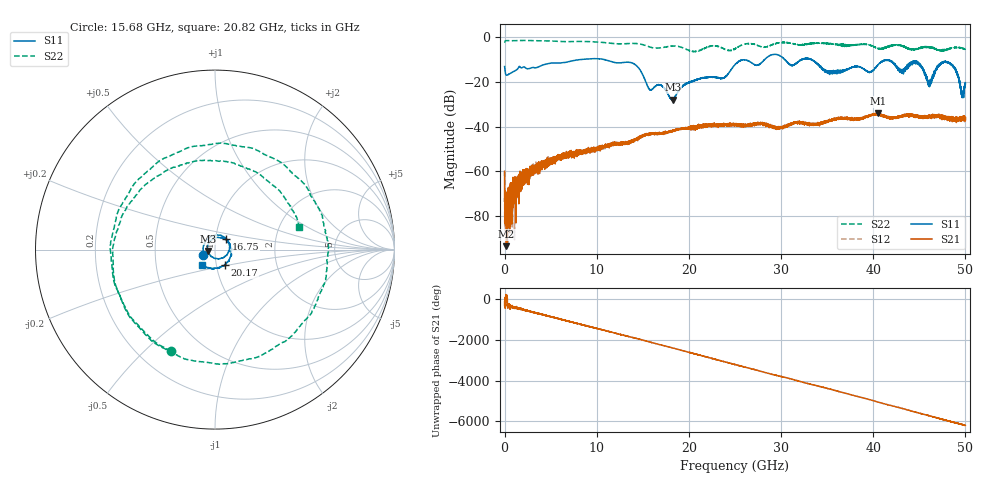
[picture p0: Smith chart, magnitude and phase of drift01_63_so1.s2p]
!Created with skrf (http://scikit-rf.org).
# Hz S RI R 50.0
!freq ReS11 ImS11 ReS21 ImS21 ReS12 ImS12 ReS22 ImS22
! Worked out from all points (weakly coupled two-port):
!   10001 points, 300 kHz to 50 GHz, reference 50 ohm
!   highest |S21| = -34.03 dB at 40.53 GHz (marker M1); lowest = -93.6 dB at 200.3 MHz (marker M2)
!   lowest |S11| = -27.9 dB at 18.26 GHz (marker M3), VSWR 1.08, Z = 46.2 - j0.749 ohm
!   |S11| at or under -10 dB: start of sweep to 8.034 GHz; 10.91 GHz to 25.88 GHz (14.97 GHz wide, 81.4 % of centre); 33.32 GHz to end of sweep (the widest 3 of 13)
!   |S22| runs from -6.4 to -1.4 dB; largest |S21 - S12| = 0.0037
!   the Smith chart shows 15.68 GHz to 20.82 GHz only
!   S11 on the Smith chart (normalised r, x): 15.68 GHz: 0.88, -0.05; 16.75 GHz: 1.12, +0.14; 20.17 GHz: 1.10, -0.19; 20.82 GHz: 0.85, -0.15
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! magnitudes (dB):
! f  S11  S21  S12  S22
! 300 kHz  -13.1  -59.9  -60.2  -2.1
! 200.3 MHz  -16.9  -93.6  -77.4  -1.4
! 3.115 GHz  -13.4  -59.3  -61.0  -1.4
! 8.335 GHz  -9.9  -51.5  -51.8  -1.8
! 13.89 GHz  -11.5  -46.9  -46.3  -2.7
! 15.68 GHz  -23.0  -43.5  -43.5  -4.2
! 16.67 GHz  -21.2  -42.8  -43.1  -4.8
! 16.75 GHz  -21.3  -43.1  -43.2  -4.7
! 18.26 GHz  -27.9  -41.6  -41.7  -3.9
! 20.17 GHz  -20.0  -39.8  -41.0  -6.0
! 20.82 GHz  -18.9  -40.4  -40.4  -6.3
! 25 GHz  -12.2  -39.0  -39.1  -5.0
! 33.34 GHz  -10.1  -39.2  -38.8  -2.7
! 35.33 GHz  -15.7  -37.2  -37.3  -2.8
! 40.53 GHz  -12.2  -34.0  -34.7  -5.0
! 41.67 GHz  -10.2  -35.5  -35.9  -4.1
! 43.1 GHz  -15.0  -35.2  -35.4  -3.8
! 44.81 GHz  -11.3  -35.1  -35.6  -5.1
! 46.11 GHz  -20.5  -35.5  -35.7  -4.5
! 48.06 GHz  -11.3  -36.1  -36.2  -5.3
! 49.64 GHz  -24.9  -35.5  -36.5  -4.8
! 50 GHz  -20.8  -36.2  -36.6  -5.2
